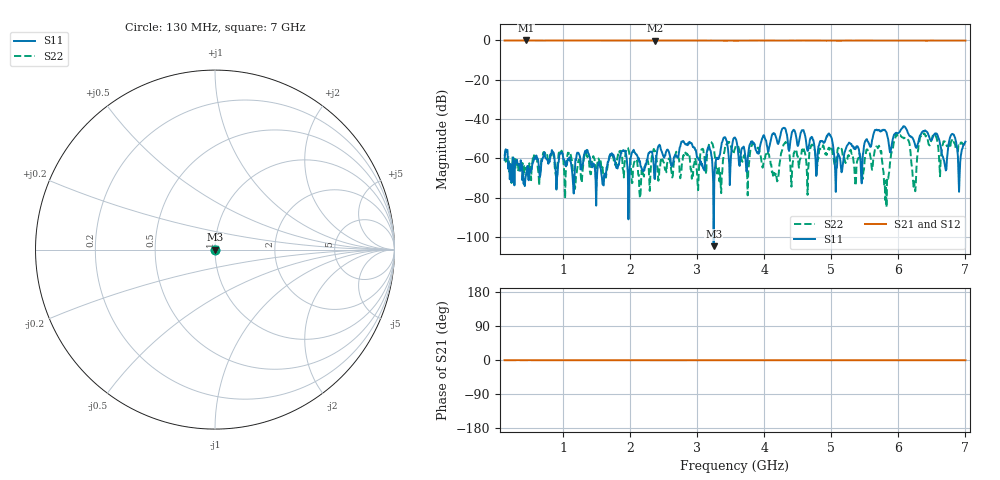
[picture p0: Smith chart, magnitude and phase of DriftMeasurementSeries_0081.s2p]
# Hz S RI R 50.000000
! Metas.Vna.Tools, 2.8.8664.20301
! Metas.Vna.Data, 2.8.8664.20285
! Created: UTC 2024.02.11 10:08:43
! FREQ  re:S1,1  im:S1,1  re:S2,1  im:S2,1  re:S1,2  im:S1,2  re:S2,2  im:S2,2
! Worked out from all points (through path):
!   801 points, 130 MHz to 7 GHz, reference 50 ohm
!   highest |S21| = -0.04 dB at 447.7 MHz (marker M1); lowest = -0.2 dB at 2.371 GHz (marker M2)
!   lowest |S11| = -104.7 dB at 3.247 GHz (marker M3), VSWR 1.00, Z = 50 - j0.000545 ohm
!   |S11| at or under -10 dB: start of sweep to end of sweep
!   |S22| runs from -84.9 to -47.3 dB; largest |S21 - S12| = 0.018
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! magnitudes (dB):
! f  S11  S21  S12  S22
! 130 MHz  -60.8  -0.1  0.0  -58.9
! 447.7 MHz  -68.6  0.0  0.0  -64.9
! 1.281 GHz  -64.1  -0.1  0.0  -72.4
! 1.968 GHz  -67.6  -0.1  0.0  -54.7
! 2.174 GHz  -65.2  -0.1  0.0  -65.9
! 2.371 GHz  -70.6  -0.2  0.0  -56.2
! 2.423 GHz  -53.8  -0.1  0.0  -71.4
! 3.247 GHz  -104.7  -0.1  0.0  -55.0
! 3.333 GHz  -58.7  -0.1  0.0  -71.7
! 3.565 GHz  -49.5  -0.2  0.0  -55.1
! 4.183 GHz  -49.9  -0.1  0.0  -69.2
! 4.312 GHz  -44.7  -0.1  0.0  -52.1
! 4.716 GHz  -49.3  -0.1  0.0  -53.0
! 4.982 GHz  -48.0  -0.1  0.0  -54.3
! 5.085 GHz  -64.6  -0.1  0.0  -58.8
! 5.695 GHz  -45.7  -0.1  0.0  -54.9
! 5.858 GHz  -52.5  -0.1  0.0  -68.1
! 5.995 GHz  -47.3  -0.1  0.0  -47.7
! 6.236 GHz  -51.6  -0.1  0.0  -71.6
! 6.356 GHz  -46.6  -0.2  0.0  -47.6
! 6.691 GHz  -62.9  -0.1  0.0  -51.6
! 7 GHz  -51.6  -0.1  0.0  -55.1
